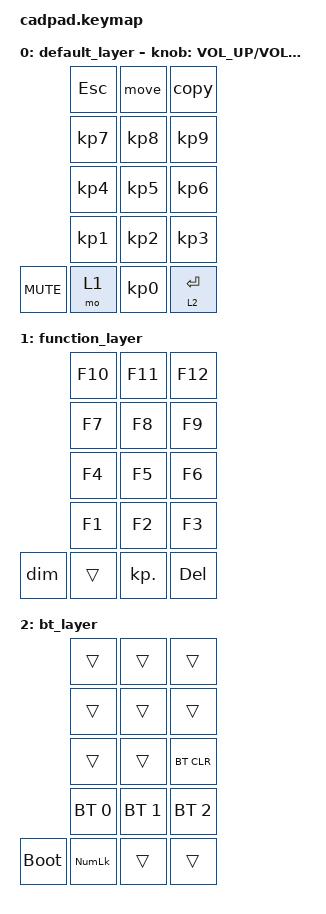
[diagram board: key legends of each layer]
#include <behaviors.dtsi>
#include <dt-bindings/zmk/keys.h>
#include <dt-bindings/zmk/bt.h>

&left_encoder { status = "okay"; };






/ {
    macros {
        move: move {
            compatible = "zmk,behavior-macro";
            #binding-cells = <0>;
            bindings
                = <&macro_tap &kp M &kp ENTER>;
                               
        };


        copy: copy {
            compatible = "zmk,behavior-macro";
            #binding-cells = <0>;
            bindings
                = <&macro_wait_time 50>,
                <&macro_tap &kp C &kp O &kp ENTER>;



    };

        dim: dim {
            compatible = "zmk,behavior-macro";
            #binding-cells = <0>;
            bindings
                = <&macro_wait_time 50>,
                <&macro_tap &kp D &kp ENTER>;



    };


};


};




/ {



    keymap {
        compatible = "zmk,keymap";

        default_layer { // Layer 0
            bindings = <
                                    &kp ESC         &move           &copy
                                    &kp KP_N7       &kp KP_N8       &kp KP_N9
                                    &kp KP_N4       &kp KP_N5       &kp KP_N6
                                    &kp KP_N1       &kp KP_N2       &kp KP_N3
                        &kp C_MUTE  &mo 1           &kp KP_N0       &lt 2 ENTER    
                    >;

                sensor-bindings = <&inc_dec_kp C_VOL_UP C_VOL_DN>;
        };
        function_layer { // Layer 1
            bindings = <
                                    &kp F10         &kp F11         &kp F12
                                    &kp F7          &kp F8          &kp F9
                                    &kp F4          &kp F5          &kp F6
                                    &kp F1          &kp F2          &kp F3
                    &dim            &trans          &kp KP_DOT      &kp DEL  
                    >;          
                
                 };
        bt_layer { // Layer 2
            bindings = <
                                    &trans          &trans          &trans
                                    &trans          &trans          &trans
                                    &trans          &trans          &bt BT_CLR
                                    &bt BT_SEL 0    &bt BT_SEL 1    &bt BT_SEL 2
                    &bootloader     &kp KP_NUM      &trans          &trans
                    >;
                    
                  };   
             };

    };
